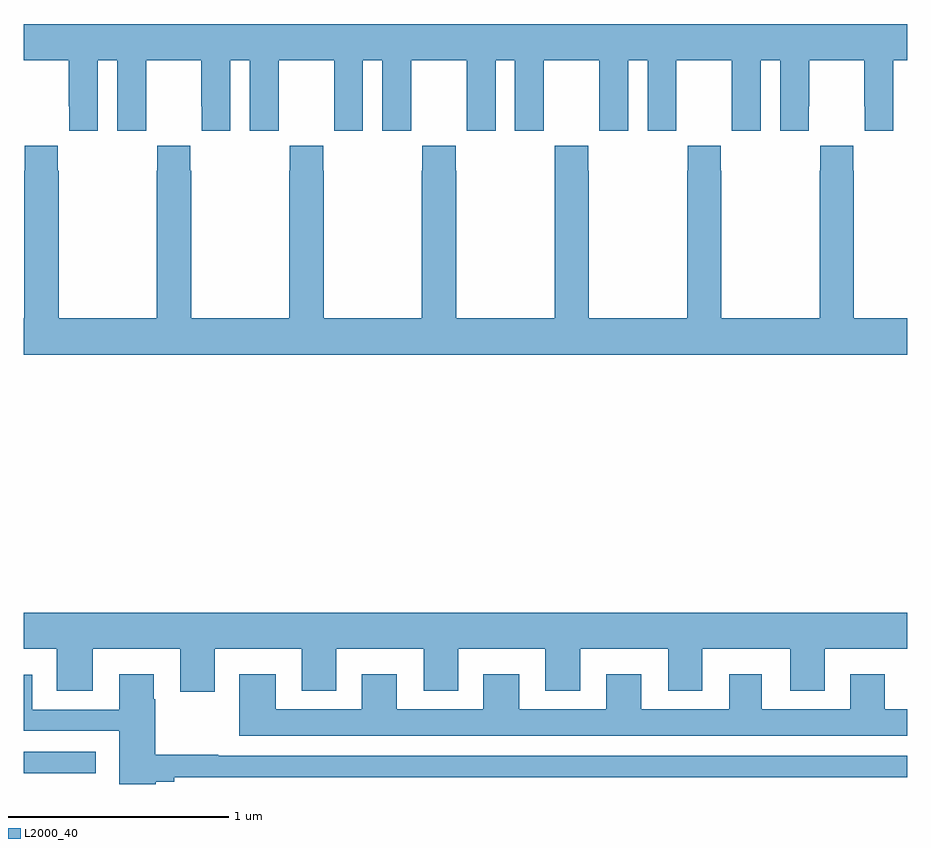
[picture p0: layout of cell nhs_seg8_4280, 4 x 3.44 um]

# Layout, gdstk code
import gdstk
lib = gdstk.Library(unit=1e-6, precision=1e-09)
def R(c, l, rs):  # rectangles x0, y0, x1, y1
    for r in rs: c.add(gdstk.rectangle(r[:2], r[2:], *l))
def P(c, l, *ps):  # polygons
    for p in ps: c.add(gdstk.Polygon(p, *l))
L2000_40 = (2000, 40)

nhs_seg8_4280 = lib.new_cell('nhs_seg8_4280')
R(nhs_seg8_4280, L2000_40, [(373,1103.948,373.327,1104.045)])
P(nhs_seg8_4280, L2000_40, [(373,1107.176),(373.205,1107.176),(373.205,1106.968),(373.206,1106.968),(373.206,1106.856),(373.336,1106.856),(373.336,1107.176),(373.424,1107.176),(373.424,1106.856),(373.554,1106.856),(373.554,1106.968),(373.555,1106.968),(373.555,1107.176),(373.805,1107.176),(373.805,1106.968),(373.806,1106.968),(373.806,1106.856),(373.936,1106.856),(373.936,1107.176),(374.024,1107.176),(374.024,1106.856),(374.154,1106.856),(374.154,1106.968),(374.155,1106.968),(374.155,1107.176),(374.405,1107.176),(374.405,1106.968),(374.406,1106.968),(374.406,1106.856),(374.536,1106.856),(374.536,1107.176),(374.624,1107.176),(374.624,1106.856),(374.754,1106.856),(374.754,1106.968),(374.755,1106.968),(374.755,1107.176),(375.005,1107.176),(375.005,1106.968),(375.006,1106.968),(375.006,1106.856),(375.136,1106.856),(375.136,1107.176),(375.224,1107.176),(375.224,1106.856),(375.354,1106.856),(375.354,1106.968),(375.355,1106.968),(375.355,1107.176),(375.605,1107.176),(375.605,1106.968),(375.606,1106.968),(375.606,1106.856),(375.736,1106.856),(375.736,1107.176),(375.824,1107.176),(375.824,1106.856),(375.954,1106.856),(375.954,1106.968),(375.955,1106.968),(375.955,1107.176),(376.205,1107.176),(376.205,1106.968),(376.206,1106.968),(376.206,1106.856),(376.336,1106.856),(376.336,1107.176),(376.424,1107.176),(376.424,1106.856),(376.554,1106.856),(376.554,1106.968),(376.555,1106.968),(376.555,1107.176),(376.805,1107.176),(376.805,1106.968),(376.806,1106.968),(376.806,1106.856),(376.936,1106.856),(376.936,1107.176),(377,1107.176),(377,1107.34),(373,1107.34)],
  [(377,1106.008),(376.758,1106.008),(376.758,1106.675),(376.755,1106.675),(376.755,1106.788),(376.605,1106.788),(376.605,1106.675),(376.603,1106.675),(376.603,1106.008),(376.158,1106.008),(376.158,1106.675),(376.155,1106.675),(376.155,1106.788),(376.005,1106.788),(376.005,1106.675),(376.003,1106.675),(376.003,1106.008),(375.558,1106.008),(375.558,1106.675),(375.555,1106.675),(375.555,1106.788),(375.405,1106.788),(375.405,1106.675),(375.403,1106.675),(375.403,1106.008),(374.958,1106.008),(374.958,1106.675),(374.955,1106.675),(374.955,1106.788),(374.805,1106.788),(374.805,1106.675),(374.803,1106.675),(374.803,1106.008),(374.358,1106.008),(374.358,1106.675),(374.355,1106.675),(374.355,1106.788),(374.205,1106.788),(374.205,1106.675),(374.203,1106.675),(374.203,1106.008),(373.758,1106.008),(373.758,1106.675),(373.755,1106.675),(373.755,1106.788),(373.605,1106.788),(373.605,1106.675),(373.603,1106.675),(373.603,1106.008),(373.158,1106.008),(373.158,1106.675),(373.155,1106.675),(373.155,1106.788),(373.005,1106.788),(373.005,1106.675),(373.003,1106.675),(373.003,1106.008),(373,1106.008),(373,1105.844),(377,1105.844)],
  [(373.864,1104.512),(374.258,1104.512),(374.258,1104.323),(374.416,1104.323),(374.416,1104.512),(374.81,1104.512),(374.81,1104.323),(374.968,1104.323),(374.968,1104.512),(375.362,1104.512),(375.362,1104.323),(375.52,1104.323),(375.52,1104.512),(375.917,1104.512),(375.917,1104.323),(376.072,1104.323),(376.072,1104.512),(376.469,1104.512),(376.469,1104.323),(376.627,1104.323),(376.627,1104.512),(377,1104.512),(377,1104.676),(373,1104.676),(373,1104.512),(373.151,1104.512),(373.151,1104.322),(373.312,1104.322),(373.312,1104.512),(373.709,1104.512),(373.709,1104.318),(373.864,1104.318)],
  [(373.598,1103.911),(373.681,1103.911),(373.681,1103.93),(377,1103.93),(377,1104.027),(373.88,1104.027),(373.88,1104.032),(373.596,1104.032),(373.596,1104.284),(373.588,1104.284),(373.588,1104.397),(373.433,1104.397),(373.433,1104.237),(373.039,1104.237),(373.039,1104.394),(373,1104.394),(373,1104.141),(373.433,1104.141),(373.433,1103.9),(373.598,1103.9)],
  [(377,1104.238),(376.897,1104.238),(376.897,1104.397),(376.742,1104.397),(376.742,1104.238),(376.342,1104.238),(376.342,1104.397),(376.193,1104.397),(376.193,1104.238),(375.796,1104.238),(375.796,1104.397),(375.638,1104.397),(375.638,1104.238),(375.244,1104.238),(375.244,1104.397),(375.08,1104.397),(375.08,1104.238),(374.689,1104.238),(374.689,1104.397),(374.531,1104.397),(374.531,1104.238),(374.14,1104.238),(374.14,1104.397),(373.976,1104.397),(373.976,1104.119),(377,1104.119)])

lib.write_gds('nhs_seg8_4280.gds')
